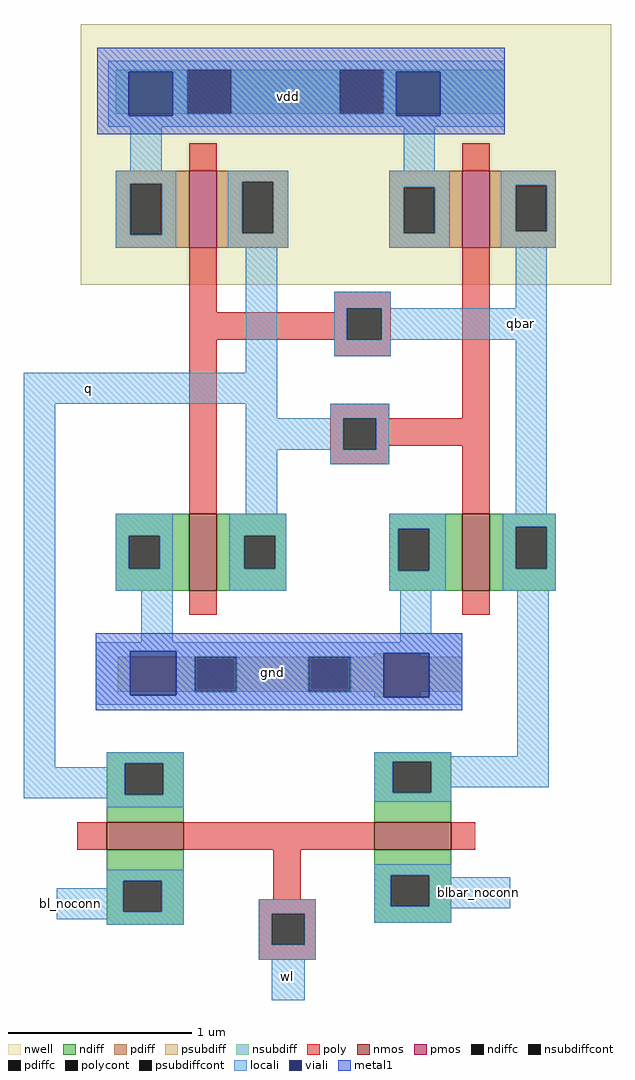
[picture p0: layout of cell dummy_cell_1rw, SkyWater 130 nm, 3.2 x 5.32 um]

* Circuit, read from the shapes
.subckt dummy_cell_1rw bl_noconn blbar_noconn gnd q qbar vdd wl
XM1 q wl bl_noconn gnd sky130_fd_pr__nfet_01v8 w=0.42 l=0.15
XM2 q qbar gnd gnd sky130_fd_pr__nfet_01v8 w=0.42 l=0.15
XM3 qbar wl blbar_noconn gnd sky130_fd_pr__nfet_01v8 w=0.42 l=0.15
XM4 qbar q gnd gnd sky130_fd_pr__nfet_01v8 w=0.42 l=0.15
XM5 q qbar vdd vdd sky130_fd_pr__pfet_01v8 w=0.42 l=0.15
XM6 qbar q vdd vdd sky130_fd_pr__pfet_01v8 w=0.42 l=0.15
.ends

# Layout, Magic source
magic
tech sky130A
<< nwell >>
rect -441 377 -152 519
<< nmos >>
rect -382 210 -367 252
rect -233 210 -218 252
rect -427 69 -385 84
rect -281 69 -239 84
<< pmos >>
rect -382 397 -367 439
rect -233 397 -218 439
<< ndiff >>
rect -422 240 -382 252
rect -422 222 -415 240
rect -398 222 -382 240
rect -422 210 -382 222
rect -367 240 -329 252
rect -367 222 -352 240
rect -335 222 -329 240
rect -367 210 -329 222
rect -273 244 -233 252
rect -273 221 -268 244
rect -251 221 -233 244
rect -273 210 -233 221
rect -218 245 -182 252
rect -218 222 -204 245
rect -187 222 -182 245
rect -218 210 -182 222
rect -427 116 -385 122
rect -427 99 -417 116
rect -396 99 -385 116
rect -427 84 -385 99
rect -281 117 -239 122
rect -281 100 -271 117
rect -250 100 -239 117
rect -281 84 -239 100
rect -427 52 -385 69
rect -427 35 -418 52
rect -397 35 -385 52
rect -281 55 -239 69
rect -427 28 -385 35
rect -281 38 -272 55
rect -251 38 -239 55
rect -281 29 -239 38
<< pdiff >>
rect -422 432 -382 439
rect -422 404 -414 432
rect -397 404 -382 432
rect -422 397 -382 404
rect -367 433 -328 439
rect -367 405 -353 433
rect -336 405 -328 433
rect -367 397 -328 405
rect -273 430 -233 439
rect -273 405 -265 430
rect -248 405 -233 430
rect -273 397 -233 405
rect -218 431 -182 439
rect -218 406 -204 431
rect -187 406 -182 431
rect -218 397 -182 406
<< ndiffc >>
rect -415 222 -398 240
rect -352 222 -335 240
rect -268 221 -251 244
rect -204 222 -187 245
rect -417 99 -396 116
rect -271 100 -250 117
rect -418 35 -397 52
rect -272 38 -251 55
<< pdiffc >>
rect -414 404 -397 432
rect -353 405 -336 433
rect -265 405 -248 430
rect -204 406 -187 431
<< psubdiff >>
rect -281 174 -256 176
rect -421 155 -379 174
rect -356 155 -317 174
rect -294 155 -233 174
rect -281 152 -256 155
<< nsubdiff >>
rect -422 470 -383 494
rect -359 470 -300 494
rect -276 470 -210 494
<< psubdiffcont >>
rect -379 155 -356 174
rect -317 155 -294 174
<< nsubdiffcont >>
rect -383 470 -359 494
rect -300 470 -276 494
<< poly >>
rect -382 439 -367 454
rect -233 439 -218 454
rect -382 362 -367 397
rect -303 364 -272 373
rect -303 362 -296 364
rect -382 347 -296 362
rect -277 347 -272 364
rect -382 252 -367 347
rect -303 338 -272 347
rect -305 304 -273 312
rect -233 304 -218 397
rect -305 287 -298 304
rect -280 289 -218 304
rect -280 287 -273 289
rect -305 279 -273 287
rect -233 252 -218 289
rect -382 197 -367 210
rect -233 197 -218 210
rect -443 69 -427 84
rect -385 69 -281 84
rect -239 69 -226 84
rect -336 42 -321 69
rect -344 34 -313 42
rect -344 17 -337 34
rect -319 17 -313 34
rect -344 9 -313 17
<< polycont >>
rect -296 347 -277 364
rect -298 287 -280 304
rect -337 17 -319 34
<< locali >>
rect -426 494 -210 499
rect -426 493 -383 494
rect -426 469 -415 493
rect -391 470 -383 493
rect -359 470 -300 494
rect -276 493 -210 494
rect -276 470 -269 493
rect -391 469 -269 470
rect -245 469 -210 493
rect -426 463 -210 469
rect -414 439 -397 463
rect -265 439 -248 463
rect -422 432 -389 439
rect -422 404 -414 432
rect -397 404 -389 432
rect -422 397 -389 404
rect -361 433 -328 439
rect -361 405 -353 433
rect -336 405 -328 433
rect -361 397 -328 405
rect -273 430 -240 439
rect -273 405 -265 430
rect -248 405 -240 430
rect -273 397 -240 405
rect -212 431 -182 439
rect -212 406 -204 431
rect -187 406 -182 431
rect -212 397 -182 406
rect -351 329 -334 397
rect -303 364 -272 373
rect -204 364 -187 397
rect -303 347 -296 364
rect -277 347 -187 364
rect -303 338 -272 347
rect -472 312 -334 329
rect -472 114 -455 312
rect -351 304 -334 312
rect -305 304 -273 312
rect -351 287 -298 304
rect -280 287 -273 304
rect -351 252 -334 287
rect -305 279 -273 287
rect -204 252 -187 347
rect -422 240 -391 252
rect -422 222 -415 240
rect -398 222 -391 240
rect -422 210 -391 222
rect -360 240 -329 252
rect -360 222 -352 240
rect -335 222 -329 240
rect -360 210 -329 222
rect -273 244 -242 252
rect -273 221 -268 244
rect -251 221 -242 244
rect -273 210 -242 221
rect -211 245 -182 252
rect -211 222 -204 245
rect -187 222 -182 245
rect -211 210 -182 222
rect -408 182 -391 210
rect -267 187 -250 210
rect -267 182 -233 187
rect -433 177 -233 182
rect -433 153 -414 177
rect -389 176 -233 177
rect -389 174 -276 176
rect -389 155 -379 174
rect -356 155 -317 174
rect -294 155 -276 174
rect -389 153 -276 155
rect -433 152 -276 153
rect -251 152 -233 176
rect -433 148 -233 152
rect -427 116 -385 122
rect -427 114 -417 116
rect -472 99 -417 114
rect -396 99 -385 116
rect -472 97 -385 99
rect -427 92 -385 97
rect -281 120 -239 122
rect -203 120 -186 210
rect -281 117 -186 120
rect -281 100 -271 117
rect -250 103 -186 117
rect -250 100 -239 103
rect -281 95 -239 100
rect -427 52 -385 58
rect -427 48 -418 52
rect -454 35 -418 48
rect -397 35 -385 52
rect -281 55 -239 61
rect -454 31 -385 35
rect -427 28 -385 31
rect -344 34 -313 42
rect -344 17 -337 34
rect -319 17 -313 34
rect -281 38 -272 55
rect -251 54 -239 55
rect -251 38 -207 54
rect -281 37 -207 38
rect -281 29 -239 37
rect -344 9 -313 17
rect -337 -13 -319 9
<< viali >>
rect -415 469 -391 493
rect -269 469 -245 493
rect -414 153 -389 177
rect -276 152 -251 176
<< metal1 >>
rect -432 493 -210 506
rect -432 469 -415 493
rect -391 469 -269 493
rect -245 469 -210 493
rect -432 459 -210 469
rect -433 177 -233 187
rect -433 153 -414 177
rect -389 176 -233 177
rect -389 153 -276 176
rect -433 152 -276 153
rect -251 152 -233 176
rect -433 145 -233 152
<< labels >>
flabel metal1 -355 465 -301 494 0 FreeSans 152 0 0 0 vdd
flabel locali -216 349 -187 363 0 FreeSans 104 0 0 0 qbar
flabel locali -449 313 -425 328 0 FreeSans 104 0 0 0 q
flabel metal1 -354 157 -319 174 0 FreeSans 120 0 0 0 gnd
flabel locali -336 -7 -321 7 0 FreeSans 72 0 0 0 wl
flabel locali -232 37 -216 54 0 FreeSans 40 0 0 0 blbar_noconn
flabel locali -453 31 -440 48 0 FreeSans 40 0 0 0 bl_noconn
<< end >>
